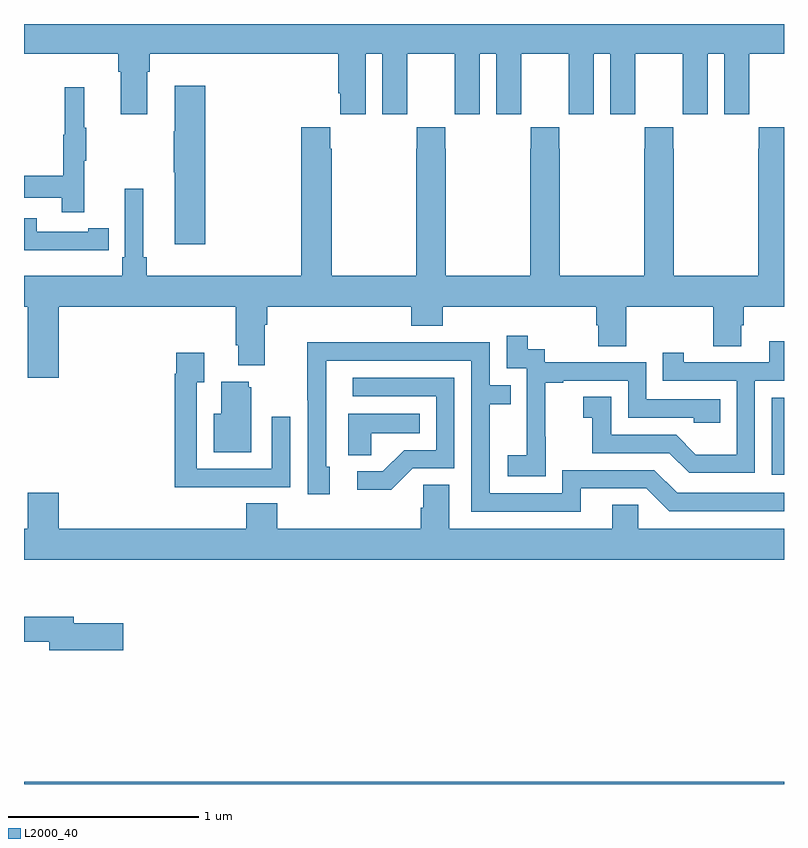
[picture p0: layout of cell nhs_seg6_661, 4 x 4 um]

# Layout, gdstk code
import gdstk
lib = gdstk.Library(unit=1e-6, precision=1e-09)
def R(c, l, rs):  # rectangles x0, y0, x1, y1
    for r in rs: c.add(gdstk.rectangle(r[:2], r[2:], *l))
def P(c, l, *ps):  # polygons
    for p in ps: c.add(gdstk.Polygon(p, *l))
L2000_40 = (2000, 40)

nhs_seg6_661 = lib.new_cell('nhs_seg6_661')
R(nhs_seg6_661, L2000_40, [(153,935.5,157,935.512), (156.936,937.128,157,937.533)])
P(nhs_seg6_661, L2000_40, [(153.649,939.248),(153.662,939.248),(153.662,939.344),(154.655,939.344),(154.655,939.136),(154.664,939.136),(154.664,939.024),(154.798,939.024),(154.798,939.344),(154.886,939.344),(154.886,939.024),(155.016,939.024),(155.016,939.136),(155.017,939.136),(155.017,939.344),(155.267,939.344),(155.267,939.136),(155.268,939.136),(155.268,939.024),(155.398,939.024),(155.398,939.344),(155.486,939.344),(155.486,939.024),(155.616,939.024),(155.616,939.136),(155.617,939.136),(155.617,939.344),(155.867,939.344),(155.867,939.136),(155.868,939.136),(155.868,939.024),(155.998,939.024),(155.998,939.344),(156.086,939.344),(156.086,939.024),(156.216,939.024),(156.216,939.136),(156.217,939.136),(156.217,939.344),(156.467,939.344),(156.467,939.136),(156.468,939.136),(156.468,939.024),(156.598,939.024),(156.598,939.344),(156.686,939.344),(156.686,939.024),(156.816,939.024),(156.816,939.136),(156.817,939.136),(156.817,939.344),(157,939.344),(157,939.5),(153,939.5),(153,939.344),(153.497,939.344),(153.497,939.248),(153.509,939.248),(153.509,939.024),(153.649,939.024)],
  [(153.953,939.175),(153.794,939.175),(153.794,938.936),(153.787,938.936),(153.787,938.719),(153.794,938.719),(153.794,938.34),(153.953,938.34)],
  [(153.317,938.779),(153.328,938.779),(153.328,938.953),(153.317,938.953),(153.317,939.166),(153.214,939.166),(153.214,938.916),(153.207,938.916),(153.207,938.702),(153,938.702),(153,938.586),(153.199,938.586),(153.199,938.508),(153.317,938.508)],
  [(153.184,938.012),(154.115,938.012),(154.115,937.81),(154.127,937.81),(154.127,937.703),(154.267,937.703),(154.267,937.916),(154.28,937.916),(154.28,938.012),(155.039,938.012),(155.039,937.913),(155.204,937.913),(155.204,938.012),(156.011,938.012),(156.011,937.914),(156.023,937.914),(156.023,937.804),(156.171,937.804),(156.171,938.012),(156.628,938.012),(156.628,937.804),(156.775,937.804),(156.775,937.914),(156.788,937.914),(156.788,938.012),(157,938.012),(157,938.956),(156.867,938.956),(156.867,938.843),(156.865,938.843),(156.865,938.176),(156.42,938.176),(156.42,938.843),(156.417,938.843),(156.417,938.956),(156.267,938.956),(156.267,938.843),(156.265,938.843),(156.265,938.176),(155.82,938.176),(155.82,938.843),(155.817,938.843),(155.817,938.956),(155.667,938.956),(155.667,938.843),(155.665,938.843),(155.665,938.176),(155.22,938.176),(155.22,938.843),(155.217,938.843),(155.217,938.956),(155.067,938.956),(155.067,938.843),(155.065,938.843),(155.065,938.176),(154.62,938.176),(154.62,938.843),(154.613,938.843),(154.613,938.956),(154.46,938.956),(154.46,938.176),(153.647,938.176),(153.647,938.272),(153.628,938.272),(153.628,938.632),(153.531,938.632),(153.531,938.272),(153.518,938.272),(153.518,938.176),(153,938.176),(153,938.012),(153.02,938.012),(153.02,937.638),(153.184,937.638)],
  [(153.338,938.31),(153.446,938.31),(153.446,938.426),(153.338,938.426),(153.338,938.406),(153.066,938.406),(153.066,938.478),(153,938.478),(153,938.309),(153.338,938.309)],
  [(155.745,937.327),(155.744,937.327),(155.744,937.611),(155.839,937.611),(155.839,937.623),(156.18,937.623),(156.18,937.428),(156.525,937.428),(156.525,937.401),(156.665,937.401),(156.665,937.524),(156.276,937.524),(156.276,937.719),(155.742,937.719),(155.742,937.788),(155.65,937.788),(155.65,937.858),(155.541,937.858),(155.541,937.689),(155.646,937.689),(155.646,937.46),(155.645,937.46),(155.645,937.231),(155.547,937.231),(155.547,937.121),(155.745,937.121)],
  [(156.846,937.623),(157,937.623),(157,937.831),(156.923,937.831),(156.923,937.719),(156.472,937.719),(156.472,937.771),(156.361,937.771),(156.361,937.623),(156.75,937.623),(156.75,937.234),(156.536,937.234),(156.432,937.338),(156.09,937.338),(156.09,937.537),(155.943,937.537),(155.943,937.427),(155.992,937.427),(155.992,937.242),(156.395,937.242),(156.5,937.137),(156.846,937.137)],
  [(155.929,937.056),(156.276,937.056),(156.396,936.936),(157,936.936),(157,937.032),(156.438,937.032),(156.318,937.152),(155.832,937.152),(155.832,937.029),(155.451,937.029),(155.451,937.498),(155.561,937.498),(155.561,937.599),(155.451,937.599),(155.451,937.824),(154.955,937.824),(154.955,937.826),(154.492,937.826),(154.492,937.519),(154.494,937.519),(154.494,937.026),(154.609,937.026),(154.609,937.17),(154.59,937.17),(154.59,937.728),(155.355,937.728),(155.355,936.933),(155.929,936.933)],
  [(154.085,937.062),(154.401,937.062),(154.401,937.432),(154.305,937.432),(154.305,937.158),(153.909,937.158),(153.909,937.615),(153.949,937.615),(153.949,937.771),(153.801,937.771),(153.801,937.658),(153.793,937.658),(153.793,937.061),(154.085,937.061)],
  [(155.046,937.161),(155.265,937.161),(155.265,937.638),(154.731,937.638),(154.731,937.542),(155.169,937.542),(155.169,937.257),(155,937.257),(154.889,937.146),(154.755,937.146),(154.755,937.049),(154.933,937.049)],
  [(154.195,937.587),(154.184,937.587),(154.184,937.618),(154.037,937.618),(154.037,937.45),(153.998,937.45),(153.998,937.247),(154.195,937.247)],
  [(154.827,937.346),(155.084,937.346),(155.084,937.45),(154.706,937.45),(154.706,937.231),(154.827,937.231)],
  [(157,936.844),(156.234,936.844),(156.234,936.971),(156.095,936.971),(156.095,936.844),(155.239,936.844),(155.239,937.076),(155.1,937.076),(155.1,936.953),(155.087,936.953),(155.087,936.844),(154.334,936.844),(154.334,936.977),(154.169,936.977),(154.169,936.844),(153.184,936.844),(153.184,937.033),(153.02,937.033),(153.02,936.844),(153,936.844),(153,936.68),(157,936.68)],
  [(153.523,936.345),(153.262,936.345),(153.262,936.379),(153,936.379),(153,936.25),(153.134,936.25),(153.134,936.203),(153.523,936.203)])

lib.write_gds('nhs_seg6_661.gds')
